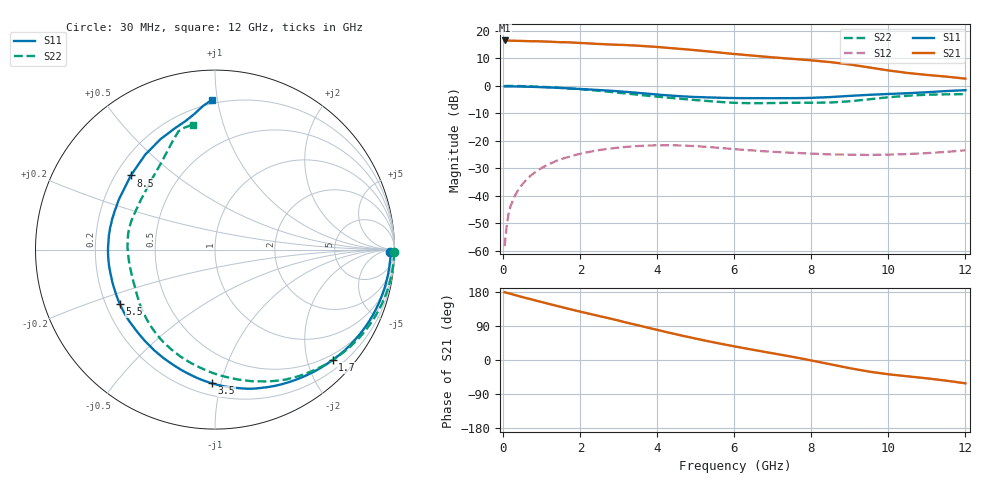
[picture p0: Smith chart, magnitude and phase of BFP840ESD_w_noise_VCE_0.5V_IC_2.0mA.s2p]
! Infineon Technologies  Discrete & RF Semiconductors
! BFP840ESD
! VCE =  0.5 V,  IC =  2.0 mA
! Common Emitter S-Parameters:  May 2012
# GHz  S  MA  R  50
!  f  S11  S21  S12  S22
! GHz  MAG  ANG  MAG  ANG  MAG  ANG  MAG  ANG
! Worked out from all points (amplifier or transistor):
!   93 points, 30 MHz to 12 GHz, reference 50 ohm
!   highest |S21| = 16.5 dB at 30 MHz (marker M1)
!   |S21| within 3 dB of that: start of sweep to 4.529 GHz
!   unconditionally stable (mu >= 1): 6.995 GHz to 11.55 GHz
!   at 1.1 GHz: K = 0.11, MSG = 22.6 dB, |S12| = -29.1 dB
!   at 4.2 GHz: K = 0.40, MSG = 17.8 dB, |S12| = -21.6 dB
!   at 12 GHz: K = 0.88, MSG = 13.1 dB, |S12| = -23.5 dB
!   lowest NFmin = 0.41 dB at 450 MHz
!   S11 on the Smith chart (normalised r, x): 30 MHz: 64, -39; 1.7 GHz: 0.39, -2.47; 3.5 GHz: 0.28, -0.94; 5.5 GHz: 0.26, -0.25; 8.5 GHz: 0.26, +0.36; 12 GHz: 0.18, +0.96
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0.03  0.9773 -0.8  6.716 178.8  0.0012 70.4  0.9984 -0.7
0.13  0.9778 -3.3  6.673 176.3  0.0046 85.9  0.998 -3.3
0.18  0.9765 -4.6  6.648 174.9  0.0063 85.7  0.9969 -4.7
0.43  0.9707 -10.9  6.584 167.8  0.0141 79.7  0.9901 -11.2
0.9  0.9516 -22.8  6.49 155.3  0.029 69.5  0.9655 -23.3
1.2  0.9342 -30.4  6.372 147.5  0.0378 62.6  0.9434 -31.0
1.7  0.8986 -43.2  6.202 134.8  0.0509 51.7  0.897 -43.8
2.1  0.8683 -53.3  6.004 125.1  0.0603 43.3  0.8561 -53.9
2.6  0.8294 -66.3  5.746 113.4  0.0693 33.2  0.7986 -66.6
3.1  0.7841 -80.0  5.573 101.2  0.0763 23.9  0.7367 -79.6
3.5  0.7451 -91.4  5.388 91.5  0.0802 16.3  0.6887 -90.8
4.1  0.6851 -109.2  5.037 76.9  0.0827 5.8  0.6261 -107.9
4.7  0.6415 -127.5  4.647 62.9  0.0815 -4.1  0.5737 -124.3
5  0.626 -136.4  4.457 56.3  0.0795 -8.2  0.5503 -132.0
5.5  0.6108 -150.3  4.122 45.8  0.0752 -14.2  0.5173 -144.1
6.1  0.5977 -165.1  3.757 34.1  0.0694 -18.6  0.4889 -158.3
7.4  0.5961 165.9  3.141 10.3  0.0608 -22.6  0.4902 172.1
8.5  0.6249 138.6  2.702 -11.4  0.0563 -22.6  0.4974 146.2
9  0.6566 126.3  2.452 -21.7  0.0558 -21.9  0.5236 133.0
9.5  0.6866 116.1  2.164 -30.7  0.0551 -21.0  0.5683 121.9
10.5  0.7347 102.9  1.716 -43.1  0.0572 -18.6  0.6606 110.1
12  0.8342 91.2  1.354 -61.5  0.0669 -17.9  0.7071 100.2
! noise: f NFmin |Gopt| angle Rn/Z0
0.45  0.41  0.76  3  0.37
0.9  0.41  0.76  9  0.33
1.5  0.48  0.75  21  0.28
1.9  0.54  0.74  24  0.26
2.4  0.6  0.68  35  0.23
3.5  0.67  0.55  60  0.18
5.5  0.89  0.38  116  0.13
8  1.18  0.5  -152  0.06
10  1.44  0.57  -112  0.17
12  1.75  0.61  -87  0.3
